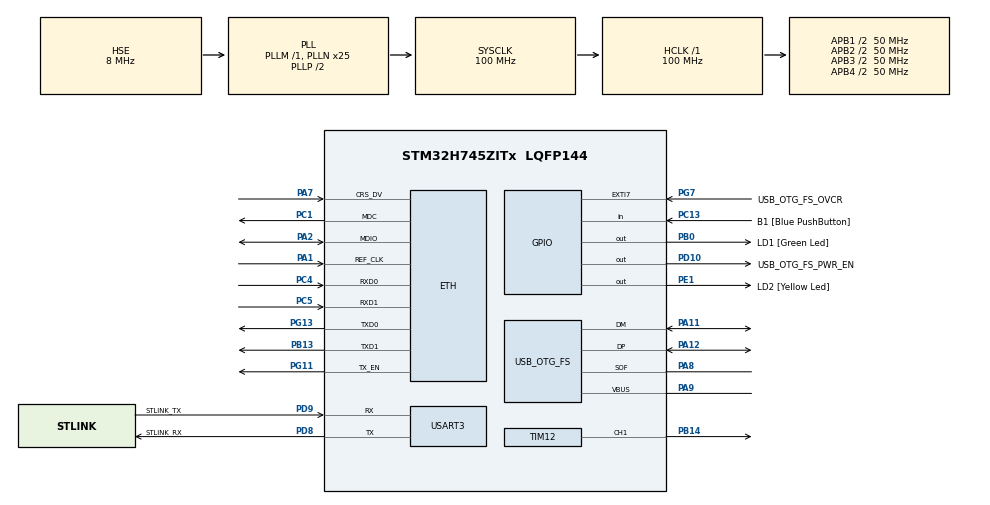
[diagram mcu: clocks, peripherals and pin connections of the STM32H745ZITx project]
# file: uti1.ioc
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CortexM4.IPs=FATFS_M4\:I,FREERTOS_M4\:I,IWDG2\:I,RCC,WWDG2\:I,DMA,BDMA,MDMA,NVIC2\:I,USART3,DEBUG,USB_DEVICE_M4\:I,USB_HOST_M4\:I,PDM2PCM_M4\:I,PWR,RESMGR_UTILITY,SYS_M4\:I,CORTEX_M4\:I,OPENAMP_M4\:I,VREFBUF,GPIO
CortexM7.IPs=FATFS_M7\:I,FREERTOS_M7\:I,IWDG1\:I,RCC\:I,WWDG1\:I,DMA\:I,BDMA\:I,MDMA\:I,NVIC1\:I,SYS\:I,USART3\:I,USB_OTG_FS\:I,CORTEX_M7\:I,DEBUG\:I,USB_DEVICE_M7\:I,USB_HOST_M7\:I,PDM2PCM_M7\:I,PWR\:I,RESMGR_UTILITY\:I,OPENAMP_M7\:I,VREFBUF\:I,GPIO\:I,ETH\:I,TIM12\:I
ETH.MediaInterface=HAL_ETH_RMII_MODE
Mcu.Family=STM32H7
Mcu.Name=STM32H745ZITx
Mcu.Package=LQFP144
NVIC1.ETH_IRQn=true\:0\:0\:false\:false\:true\:true\:true\:true
NVIC1.PriorityGroup=NVIC_PRIORITYGROUP_4
NVIC2.PriorityGroup=NVIC_PRIORITYGROUP_4
PA1.Mode=RMII
PA1.PinAttribute=CortexM7
PA1.Signal=ETH_REF_CLK
PA11.Mode=Device_Only
PA11.PinAttribute=CortexM7
PA11.Signal=USB_OTG_FS_DM
PA12.Mode=Device_Only
PA12.PinAttribute=CortexM7
PA12.Signal=USB_OTG_FS_DP
PA2.Mode=RMII
PA2.PinAttribute=CortexM7
PA2.Signal=ETH_MDIO
PA7.Mode=RMII
PA7.PinAttribute=CortexM7
PA7.Signal=ETH_CRS_DV
PA8.Mode=Activate_SOF_FS
PA8.PinAttribute=CortexM7
PA8.Signal=USB_OTG_FS_SOF
PA9.Mode=Activate_VBUS
PA9.PinAttribute=CortexM7
PA9.Signal=USB_OTG_FS_VBUS
PB0.GPIO_Label=LD1 [Green Led]
PB0.PinAttribute=Free
PB0.Signal=GPIO_Output
PB13.Mode=RMII
PB13.PinAttribute=CortexM7
PB13.Signal=ETH_TXD1
PB14.PinAttribute=CortexM7
PB14.Signal=S_TIM12_CH1
PC1.Mode=RMII
PC1.PinAttribute=CortexM7
PC1.Signal=ETH_MDC
PC13.GPIO_Label=B1 [Blue PushButton]
PC13.PinAttribute=Free
PC13.Signal=GPIO_Input
PC14-OSC32_IN\ (OSC32_IN).Mode=LSE-External-Oscillator
PC14-OSC32_IN\ (OSC32_IN).PinAttribute=CortexM7
PC14-OSC32_IN\ (OSC32_IN).Signal=RCC_OSC32_IN
PC15-OSC32_OUT\ (OSC32_OUT).Mode=LSE-External-Oscillator
PC15-OSC32_OUT\ (OSC32_OUT).PinAttribute=CortexM7
PC15-OSC32_OUT\ (OSC32_OUT).Signal=RCC_OSC32_OUT
PC4.Mode=RMII
PC4.PinAttribute=CortexM7
PC4.Signal=ETH_RXD0
PC5.Mode=RMII
PC5.PinAttribute=CortexM7
PC5.Signal=ETH_RXD1
PD10.GPIO_Label=USB_OTG_FS_PWR_EN
PD10.PinAttribute=Free
PD10.Signal=GPIO_Output
PD8.GPIO_Label=STLINK_RX
PD8.Mode=Asynchronous
PD8.PinAttribute=CortexM7
PD8.Signal=USART3_TX
PD9.GPIO_Label=STLINK_TX
PD9.Mode=Asynchronous
PD9.PinAttribute=CortexM7
PD9.Signal=USART3_RX
PE1.GPIO_Label=LD2 [Yellow Led]
PE1.GPIO_PuPd=GPIO_NOPULL
PE1.PinAttribute=Free
PE1.Signal=GPIO_Output
PG11.Mode=RMII
PG11.PinAttribute=CortexM7
PG11.Signal=ETH_TX_EN
PG13.Mode=RMII
PG13.PinAttribute=CortexM7
PG13.Signal=ETH_TXD0
PG7.GPIO_Label=USB_OTG_FS_OVCR
PG7.PinAttribute=Free
PG7.Signal=GPXTI7
PH0-OSC_IN\ (PH0).Mode=HSE-External-Oscillator
PH0-OSC_IN\ (PH0).PinAttribute=CortexM7
PH0-OSC_IN\ (PH0).Signal=RCC_OSC_IN
PH1-OSC_OUT\ (PH1).Mode=HSE-External-Oscillator
PH1-OSC_OUT\ (PH1).PinAttribute=CortexM7
PH1-OSC_OUT\ (PH1).Signal=RCC_OSC_OUT
ProjectManager.HeapSize=M4-0x200,M7-0x200
ProjectManager.StackSize=M4-0x400,M7-0x400
ProjectManager.TargetToolchain=STM32CubeIDE
RCC.ADCFreq_Value=16125000
RCC.APB1Freq_Value=50000000
RCC.APB2Freq_Value=50000000
RCC.APB3Freq_Value=50000000
RCC.APB4Freq_Value=50000000
RCC.CortexFreq_Value=100000000
RCC.D1PPRE=RCC_APB3_DIV2
RCC.D2PPRE1=RCC_APB1_DIV2
RCC.D2PPRE2=RCC_APB2_DIV2
RCC.D3PPRE=RCC_APB4_DIV2
RCC.DIVM1=1
RCC.DIVM3=1
RCC.DIVN1=25
RCC.DIVN3=18
RCC.DIVQ3=3
RCC.HCLKFreq_Value=100000000
RCC.HSE_VALUE=8000000
RCC.PLL2FRACN=0
RCC.PLL3FRACN=6144
RCC.PLLFRACN=0
RCC.SYSCLKFreq_VALUE=100000000
RCC.SYSCLKSource=RCC_SYSCLKSOURCE_PLLCLK
RCC.SupplySource=PWR_DIRECT_SMPS_SUPPLY
RCC.USBCLockSelection=RCC_USBCLKSOURCE_PLL3
RCC.USBFreq_Value=50000000
SH.S_TIM12_CH1.0=TIM12_CH1,PWM Generation1 CH1
TIM12.AutoReloadPreload=TIM_AUTORELOAD_PRELOAD_DISABLE
TIM12.Channel-PWM\ Generation1\ CH1=TIM_CHANNEL_1
TIM12.Period=2-1
TIM12.Prescaler=1-1
TIM12.Pulse-PWM\ Generation1\ CH1=2
USART3.VirtualMode-Asynchronous=VM_ASYNC
USB_OTG_FS.VirtualMode=Device_Only
VP_SYS_M4_VS_Systick.Mode=SysTick
board=NUCLEO-H745ZI-Q

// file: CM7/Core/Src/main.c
/* USER CODE BEGIN Header */
/**
  ******************************************************************************
  * @file           : main.c
  * @brief          : Main program body
  ******************************************************************************
  * @attention
  *
  * Copyright (c) 2023 STMicroelectronics.
  * All rights reserved.
  *
  * This software is licensed under terms that can be found in the LICENSE file
  * in the root directory of this software component.
  * If no LICENSE file comes with this software, it is provided AS-IS.
  *
  ******************************************************************************
  */
/* USER CODE END Header */
#include "main.h"
#include "string.h"

/* USER CODE BEGIN Includes */
#include <stdio.h>
/* USER CODE END Includes */

/* USER CODE BEGIN PD */

#ifndef HSEM_ID_0
#define HSEM_ID_0 (0U) /* HW semaphore 0*/
#endif

/* USER CODE END PD */

#if defined ( __ICCARM__ ) /*!< IAR Compiler */
#pragma location=0x30000000
ETH_DMADescTypeDef  DMARxDscrTab[ETH_RX_DESC_CNT]; /* Ethernet Rx DMA Descriptors */
#pragma location=0x30000200
ETH_DMADescTypeDef  DMATxDscrTab[ETH_TX_DESC_CNT]; /* Ethernet Tx DMA Descriptors */

#elif defined ( __CC_ARM )  /* MDK ARM Compiler */

__attribute__((at(0x30000000))) ETH_DMADescTypeDef  DMARxDscrTab[ETH_RX_DESC_CNT]; /* Ethernet Rx DMA Descriptors */
__attribute__((at(0x30000200))) ETH_DMADescTypeDef  DMATxDscrTab[ETH_TX_DESC_CNT]; /* Ethernet Tx DMA Descriptors */

#elif defined ( __GNUC__ ) /* GNU Compiler */
ETH_DMADescTypeDef DMARxDscrTab[ETH_RX_DESC_CNT] __attribute__((section(".RxDecripSection"))); /* Ethernet Rx DMA Descriptors */
ETH_DMADescTypeDef DMATxDscrTab[ETH_TX_DESC_CNT] __attribute__((section(".TxDecripSection")));   /* Ethernet Tx DMA Descriptors */

#endif

ETH_TxPacketConfig TxConfig;

ETH_HandleTypeDef heth;

TIM_HandleTypeDef htim12;

UART_HandleTypeDef huart3;

PCD_HandleTypeDef hpcd_USB_OTG_FS;

void SystemClock_Config(void);
static void MX_GPIO_Init(void);
static void MX_USART3_UART_Init(void);
static void MX_USB_OTG_FS_PCD_Init(void);
static void MX_ETH_Init(void);
static void MX_TIM12_Init(void);

/* USER CODE BEGIN 0 */
volatile uint32_t timeElapsedMs = 0;

/* USER CODE END 0 */

int main(void)
{
  /* USER CODE BEGIN 1 */
	GPIO_Config();
	uint16_t timer_val;
  /* USER CODE END 1 */
/* USER CODE BEGIN Boot_Mode_Sequence_0 */
  //int32_t timeout;
/* USER CODE END Boot_Mode_Sequence_0 */

/* USER CODE BEGIN Boot_Mode_Sequence_1 */
  /* Wait until CPU2 boots and enters in stop mode or timeout*/
//  timeout = 0xFFFF;
//  while((__HAL_RCC_GET_FLAG(RCC_FLAG_D2CKRDY) != RESET) && (timeout-- > 0));
//  if ( timeout < 0 )
//  {
//  Error_Handler();
//  }
/* USER CODE END Boot_Mode_Sequence_1 */
  /* MCU Configuration--------------------------------------------------------*/

  /* Reset of all peripherals, Initializes the Flash interface and the Systick. */
  HAL_Init();

  /* Configure the system clock */
  SystemClock_Config();
/* USER CODE BEGIN Boot_Mode_Sequence_2 */
/* When system initialization is finished, Cortex-M7 will release Cortex-M4 by means of
HSEM notification */
/*HW semaphore Clock enable*/
//__HAL_RCC_HSEM_CLK_ENABLE();
///*Take HSEM */
//HAL_HSEM_FastTake(HSEM_ID_0);
///*Release HSEM in order to notify the CPU2(CM4)*/
//HAL_HSEM_Release(HSEM_ID_0,0);
///* wait until CPU2 wakes up from stop mode */
//timeout = 0xFFFF;
//while((__HAL_RCC_GET_FLAG(RCC_FLAG_D2CKRDY) == RESET) && (timeout-- > 0));
//if ( timeout < 0 )
//{
//Error_Handler();
//}
/* USER CODE END Boot_Mode_Sequence_2 */

  /* Initialize all configured peripherals */
  MX_GPIO_Init();
  MX_USART3_UART_Init();
  MX_USB_OTG_FS_PCD_Init();
  MX_ETH_Init();
  MX_TIM12_Init();
  /* USER CODE BEGIN 2 */
  //HAL_TIM_Base_Start_IT(&htim16);
  HAL_TIM_PWM_Start(&htim12, TIM_CHANNEL_1);

  /* USER CODE END 2 */

  /* Infinite loop */
  while (1)
  {

    /* USER CODE BEGIN 3 */
//	  if(HAL_GPIO_ReadPin(GPIOF, GPIO_PIN_6) == GPIO_PIN_SET){
//			printf("time elapsed is: %u, clock is on %u\n", (HAL_GetTick() - timeElapsedMs), HAL_GPIO_ReadPin(GPIOF, GPIO_PIN_6));
//			timeElapsedMs = HAL_GetTick();
//	  }
	  //HAL_Delay(100000);
      // Read the counter value of TIM16
//      uint32_t counterValue = TIM16->CNT;
//      GPIO_PinState P = HAL_GPIO_ReadPin(GPIOF, GPIO_PIN_6);
//
//      // Print the counter value to the console or use it as needed
//      printf("TIM16 Counter Value: %u\n", counterValue);
//
//      // Add a delay if needed between counter readings
//      HAL_Delay(1000); // 1-second delay (adjust as needed)
  }
  /* USER CODE END 3 */
}

void SystemClock_Config(void)
{
  RCC_OscInitTypeDef RCC_OscInitStruct = {0};
  RCC_ClkInitTypeDef RCC_ClkInitStruct = {0};

  /** Supply configuration update enable
  */
  HAL_PWREx_ConfigSupply(PWR_DIRECT_SMPS_SUPPLY);

  /** Configure the main internal regulator output voltage
  */
  __HAL_PWR_VOLTAGESCALING_CONFIG(PWR_REGULATOR_VOLTAGE_SCALE3);

  while(!__HAL_PWR_GET_FLAG(PWR_FLAG_VOSRDY)) {}

  /** Initializes the RCC Oscillators according to the specified parameters
  * in the RCC_OscInitTypeDef structure.
  */
  RCC_OscInitStruct.OscillatorType = RCC_OSCILLATORTYPE_HSE;
  RCC_OscInitStruct.HSEState = RCC_HSE_ON;
  RCC_OscInitStruct.PLL.PLLState = RCC_PLL_ON;
  RCC_OscInitStruct.PLL.PLLSource = RCC_PLLSOURCE_HSE;
  RCC_OscInitStruct.PLL.PLLM = 1;
  RCC_OscInitStruct.PLL.PLLN = 25;
  RCC_OscInitStruct.PLL.PLLP = 2;
  RCC_OscInitStruct.PLL.PLLQ = 2;
  RCC_OscInitStruct.PLL.PLLR = 2;
  RCC_OscInitStruct.PLL.PLLRGE = RCC_PLL1VCIRANGE_3;
  RCC_OscInitStruct.PLL.PLLVCOSEL = RCC_PLL1VCOWIDE;
  RCC_OscInitStruct.PLL.PLLFRACN = 0;
  if (HAL_RCC_OscConfig(&RCC_OscInitStruct) != HAL_OK)
  {
    Error_Handler();
  }

  /** Initializes the CPU, AHB and APB buses clocks
  */
  RCC_ClkInitStruct.ClockType = RCC_CLOCKTYPE_HCLK|RCC_CLOCKTYPE_SYSCLK
                              |RCC_CLOCKTYPE_PCLK1|RCC_CLOCKTYPE_PCLK2
                              |RCC_CLOCKTYPE_D3PCLK1|RCC_CLOCKTYPE_D1PCLK1;
  RCC_ClkInitStruct.SYSCLKSource = RCC_SYSCLKSOURCE_PLLCLK;
  RCC_ClkInitStruct.SYSCLKDivider = RCC_SYSCLK_DIV1;
  RCC_ClkInitStruct.AHBCLKDivider = RCC_HCLK_DIV1;
  RCC_ClkInitStruct.APB3CLKDivider = RCC_APB3_DIV2;
  RCC_ClkInitStruct.APB1CLKDivider = RCC_APB1_DIV2;
  RCC_ClkInitStruct.APB2CLKDivider = RCC_APB2_DIV2;
  RCC_ClkInitStruct.APB4CLKDivider = RCC_APB4_DIV2;

  if (HAL_RCC_ClockConfig(&RCC_ClkInitStruct, FLASH_LATENCY_2) != HAL_OK)
  {
    Error_Handler();
  }
}

static void MX_ETH_Init(void)
{

   static uint8_t MACAddr[6];

  heth.Instance = ETH;
  MACAddr[0] = 0x00;
  MACAddr[1] = 0x80;
  MACAddr[2] = 0xE1;
  MACAddr[3] = 0x00;
  MACAddr[4] = 0x00;
  MACAddr[5] = 0x00;
  heth.Init.MACAddr = &MACAddr[0];
  heth.Init.MediaInterface = HAL_ETH_RMII_MODE;
  heth.Init.TxDesc = DMATxDscrTab;
  heth.Init.RxDesc = DMARxDscrTab;
  heth.Init.RxBuffLen = 1524;

  if (HAL_ETH_Init(&heth) != HAL_OK)
  {
    Error_Handler();
  }

  memset(&TxConfig, 0 , sizeof(ETH_TxPacketConfig));
  TxConfig.Attributes = ETH_TX_PACKETS_FEATURES_CSUM | ETH_TX_PACKETS_FEATURES_CRCPAD;
  TxConfig.ChecksumCtrl = ETH_CHECKSUM_IPHDR_PAYLOAD_INSERT_PHDR_CALC;
  TxConfig.CRCPadCtrl = ETH_CRC_PAD_INSERT;

}

static void MX_TIM12_Init(void)
{

  TIM_MasterConfigTypeDef sMasterConfig = {0};
  TIM_OC_InitTypeDef sConfigOC = {0};

  htim12.Instance = TIM12;
  htim12.Init.Prescaler = 1-1;
  htim12.Init.CounterMode = TIM_COUNTERMODE_UP;
  htim12.Init.Period = 2-1;
  htim12.Init.ClockDivision = TIM_CLOCKDIVISION_DIV1;
  htim12.Init.AutoReloadPreload = TIM_AUTORELOAD_PRELOAD_DISABLE;
  if (HAL_TIM_PWM_Init(&htim12) != HAL_OK)
  {
    Error_Handler();
  }
  sMasterConfig.MasterOutputTrigger = TIM_TRGO_RESET;
  sMasterConfig.MasterSlaveMode = TIM_MASTERSLAVEMODE_DISABLE;
  if (HAL_TIMEx_MasterConfigSynchronization(&htim12, &sMasterConfig) != HAL_OK)
  {
    Error_Handler();
  }
  sConfigOC.OCMode = TIM_OCMODE_PWM1;
  sConfigOC.Pulse = 2;
  sConfigOC.OCPolarity = TIM_OCPOLARITY_HIGH;
  sConfigOC.OCFastMode = TIM_OCFAST_DISABLE;
  if (HAL_TIM_PWM_ConfigChannel(&htim12, &sConfigOC, TIM_CHANNEL_1) != HAL_OK)
  {
    Error_Handler();
  }
  HAL_TIM_MspPostInit(&htim12);

}

static void MX_USART3_UART_Init(void)
{

  huart3.Instance = USART3;
  huart3.Init.BaudRate = 115200;
  huart3.Init.WordLength = UART_WORDLENGTH_8B;
  huart3.Init.StopBits = UART_STOPBITS_1;
  huart3.Init.Parity = UART_PARITY_NONE;
  huart3.Init.Mode = UART_MODE_TX_RX;
  huart3.Init.HwFlowCtl = UART_HWCONTROL_NONE;
  huart3.Init.OverSampling = UART_OVERSAMPLING_16;
  huart3.Init.OneBitSampling = UART_ONE_BIT_SAMPLE_DISABLE;
  huart3.Init.ClockPrescaler = UART_PRESCALER_DIV1;
  huart3.AdvancedInit.AdvFeatureInit = UART_ADVFEATURE_NO_INIT;
  if (HAL_UART_Init(&huart3) != HAL_OK)
  {
    Error_Handler();
  }
  if (HAL_UARTEx_SetTxFifoThreshold(&huart3, UART_TXFIFO_THRESHOLD_1_8) != HAL_OK)
  {
    Error_Handler();
  }
  if (HAL_UARTEx_SetRxFifoThreshold(&huart3, UART_RXFIFO_THRESHOLD_1_8) != HAL_OK)
  {
    Error_Handler();
  }
  if (HAL_UARTEx_DisableFifoMode(&huart3) != HAL_OK)
  {
    Error_Handler();
  }

}

static void MX_USB_OTG_FS_PCD_Init(void)
{

  hpcd_USB_OTG_FS.Instance = USB_OTG_FS;
  hpcd_USB_OTG_FS.Init.dev_endpoints = 9;
  hpcd_USB_OTG_FS.Init.speed = PCD_SPEED_FULL;
  hpcd_USB_OTG_FS.Init.dma_enable = DISABLE;
  hpcd_USB_OTG_FS.Init.phy_itface = PCD_PHY_EMBEDDED;
  hpcd_USB_OTG_FS.Init.Sof_enable = DISABLE;
  hpcd_USB_OTG_FS.Init.low_power_enable = DISABLE;
  hpcd_USB_OTG_FS.Init.lpm_enable = DISABLE;
  hpcd_USB_OTG_FS.Init.battery_charging_enable = ENABLE;
  hpcd_USB_OTG_FS.Init.vbus_sensing_enable = ENABLE;
  hpcd_USB_OTG_FS.Init.use_dedicated_ep1 = DISABLE;
  if (HAL_PCD_Init(&hpcd_USB_OTG_FS) != HAL_OK)
  {
    Error_Handler();
  }

}

static void MX_GPIO_Init(void)
{

  /* GPIO Ports Clock Enable */
  __HAL_RCC_GPIOC_CLK_ENABLE();
  __HAL_RCC_GPIOH_CLK_ENABLE();
  __HAL_RCC_GPIOA_CLK_ENABLE();
  __HAL_RCC_GPIOB_CLK_ENABLE();
  __HAL_RCC_GPIOD_CLK_ENABLE();
  __HAL_RCC_GPIOG_CLK_ENABLE();

}

/* USER CODE BEGIN 4 */
int _write(int file, char *ptr, int len){
	int var;
	for (var = 0; var < len; ++var) {
		ITM_SendChar(*ptr++);
	}
	return len;
}

//void HAL_TIM_PWM_PulseFinishedCallback(TIM_HandleTypeDef *htim){
////	printf("time elapsed is: %u, clock is on %u\n", (HAL_GetTick() - timeElapsedMs), HAL_GPIO_ReadPin(GPIOF, GPIO_PIN_6));
////	timeElapsedMs = HAL_GetTick();
//	if(htim == &htim16){
//		HAL_GPIO_TogglePin(GPIOB, GPIO_PIN_0);
////		printf("time elapsed is: %u, clock is on %u\n", (HAL_GetTick() - timeElapsedMs), HAL_GPIO_ReadPin(GPIOF, GPIO_PIN_6));
////		timeElapsedMs = HAL_GetTick();
//	}
//}

void GPIO_Config(void){
	__HAL_RCC_GPIOB_CLK_ENABLE();
	//__HAL_RCC_GPIOC_CLK_ENABLE();

	GPIO_InitTypeDef GPIOB_init = {};
	GPIOB_init.Pin = GPIO_PIN_0;
	GPIOB_init.Mode = GPIO_MODE_OUTPUT_PP;
	HAL_GPIO_Init(GPIOB, &GPIOB_init);

}
/* USER CODE END 4 */

void Error_Handler(void)
{
  __disable_irq();
  while (1)
  {
  }
}
